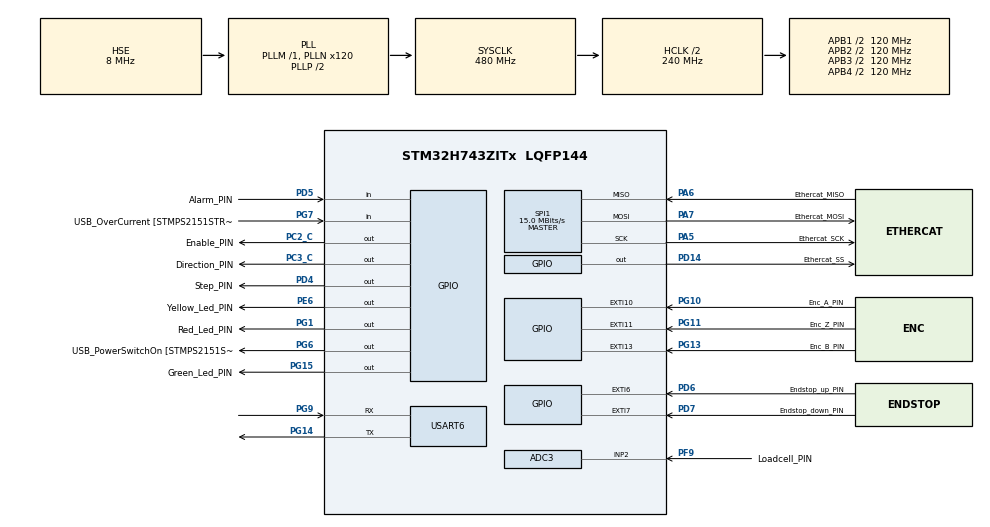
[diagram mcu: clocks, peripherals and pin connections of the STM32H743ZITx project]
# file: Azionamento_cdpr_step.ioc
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ADC3.Channel-0\#ChannelRegularConversion=ADC_CHANNEL_2
ADC3.ClockPrescaler=ADC_CLOCK_ASYNC_DIV6
ADC3.NbrOfConversion=1
ADC3.NbrOfConversionFlag=1
ADC3.OffsetNumber-0\#ChannelRegularConversion=ADC_OFFSET_NONE
ADC3.OffsetSignedSaturation-0\#ChannelRegularConversion=DISABLE
ADC3.OversamplingMode=ENABLE
ADC3.Rank-0\#ChannelRegularConversion=1
ADC3.Ratio=7
ADC3.RightBitShift=ADC_RIGHTBITSHIFT_3
ADC3.SamplingTime-0\#ChannelRegularConversion=ADC_SAMPLETIME_64CYCLES_5
Mcu.Family=STM32H7
Mcu.Name=STM32H743ZITx
Mcu.Package=LQFP144
NVIC.ADC3_IRQn=true\:0\:0\:false\:false\:true\:true\:true
NVIC.EXTI15_10_IRQn=true\:0\:0\:false\:false\:true\:true\:true
NVIC.EXTI9_5_IRQn=true\:0\:0\:false\:false\:true\:true\:true
NVIC.PriorityGroup=NVIC_PRIORITYGROUP_4
NVIC.SPI1_IRQn=true\:0\:0\:false\:false\:true\:true\:true
NVIC.TIM2_IRQn=true\:0\:0\:false\:false\:true\:true\:true
NVIC.TIM3_IRQn=true\:0\:0\:false\:false\:true\:true\:true
NVIC.USART6_IRQn=true\:0\:0\:false\:false\:true\:true\:true
PA5.GPIO_Label=Ethercat_SCK
PA5.Mode=Full_Duplex_Master
PA5.Signal=SPI1_SCK
PA6.GPIO_Label=Ethercat_MISO
PA6.Mode=Full_Duplex_Master
PA6.Signal=SPI1_MISO
PA7.GPIO_Label=Ethercat_MOSI
PA7.Mode=Full_Duplex_Master
PA7.Signal=SPI1_MOSI
PC14-OSC32_IN\ (OSC32_IN).Signal=RCC_OSC32_IN
PC15-OSC32_OUT\ (OSC32_OUT).Signal=RCC_OSC32_OUT
PC2_C.GPIO_Label=Enable_PIN
PC2_C.GPIO_ModeDefaultOutputPP=GPIO_MODE_OUTPUT_OD
PC2_C.GPIO_PuPd=GPIO_NOPULL
PC2_C.GPIO_Speed=GPIO_SPEED_FREQ_MEDIUM
PC2_C.Signal=GPIO_Output
PC3_C.GPIO_Label=Direction_PIN
PC3_C.GPIO_ModeDefaultOutputPP=GPIO_MODE_OUTPUT_OD
PC3_C.GPIO_Speed=GPIO_SPEED_FREQ_HIGH
PC3_C.Signal=GPIO_Output
PD14.GPIO_Label=Ethercat_SS
PD14.GPIO_PuPd=GPIO_PULLUP
PD14.GPIO_Speed=GPIO_SPEED_FREQ_HIGH
PD14.PinState=GPIO_PIN_SET
PD14.Signal=GPIO_Output
PD4.GPIO_Label=Step_PIN
PD4.GPIO_ModeDefaultOutputPP=GPIO_MODE_OUTPUT_OD
PD4.GPIO_Speed=GPIO_SPEED_FREQ_VERY_HIGH
PD4.Signal=GPIO_Output
PD5.GPIO_Label=Alarm_PIN
PD5.GPIO_PuPd=GPIO_PULLUP
PD5.Signal=GPIO_Input
PD6.GPIO_Label=Endstop_up_PIN
PD6.GPIO_PuPd=GPIO_PULLDOWN
PD6.Signal=GPXTI6
PD7.GPIO_Label=Endstop_down_PIN
PD7.GPIO_PuPd=GPIO_PULLDOWN
PD7.Signal=GPXTI7
PE6.GPIO_Label=Yellow_Led_PIN
PE6.GPIO_PuPd=GPIO_PULLDOWN
PE6.Signal=GPIO_Output
PF9.GPIO_Label=Loadcell_PIN
PF9.Mode=IN2-Single-Ended
PF9.Signal=ADC3_INP2
PG1.GPIO_Label=Red_Led_PIN
PG1.GPIO_PuPd=GPIO_PULLDOWN
PG1.Signal=GPIO_Output
PG10.GPIO_Label=Enc_A_PIN
PG10.GPIO_PuPd=GPIO_PULLDOWN
PG10.Signal=GPXTI10
PG11.GPIO_Label=Enc_Z_PIN
PG11.Signal=GPXTI11
PG13.GPIO_Label=Enc_B_PIN
PG13.GPIO_PuPd=GPIO_PULLDOWN
PG13.Signal=GPXTI13
PG14.Mode=Asynchronous
PG14.Signal=USART6_TX
PG15.GPIO_Label=Green_Led_PIN
PG15.GPIO_ModeDefaultOutputPP=GPIO_MODE_OUTPUT_PP
PG15.GPIO_PuPd=GPIO_PULLDOWN
PG15.Signal=GPIO_Output
PG6.GPIO_Label=USB_PowerSwitchOn [STMPS2151STR_EN]
PG6.GPIO_PuPd=GPIO_NOPULL
PG6.Signal=GPIO_Output
PG7.GPIO_Label=USB_OverCurrent [STMPS2151STR_FAULT]
PG7.Signal=GPIO_Input
PG9.Mode=Asynchronous
PG9.Signal=USART6_RX
PH0-OSC_IN\ (PH0).GPIO_Label=MCO
PH0-OSC_IN\ (PH0).Mode=HSE-External-Oscillator
PH0-OSC_IN\ (PH0).Signal=RCC_OSC_IN
PH1-OSC_OUT\ (PH1).Mode=HSE-External-Oscillator
PH1-OSC_OUT\ (PH1).Signal=RCC_OSC_OUT
ProjectManager.HeapSize=0x200
ProjectManager.StackSize=0x400
ProjectManager.TargetToolchain=SW4STM32
RCC.48MHZClocksFreq_Value=24000000
RCC.ADCFreq_Value=76000000
RCC.AHBFreq_Value=216000000
RCC.APB1CLKDivider=RCC_HCLK_DIV4
RCC.APB1Freq_Value=120000000
RCC.APB1TimFreq_Value=108000000
RCC.APB2CLKDivider=RCC_HCLK_DIV2
RCC.APB2Freq_Value=120000000
RCC.APB2TimFreq_Value=216000000
RCC.APB3Freq_Value=120000000
RCC.APB4Freq_Value=120000000
RCC.CortexFreq_Value=480000000
RCC.D1PPRE=RCC_APB3_DIV2
RCC.D2PPRE1=RCC_APB1_DIV2
RCC.D2PPRE2=RCC_APB2_DIV2
RCC.D3PPRE=RCC_APB4_DIV2
RCC.DIVM1=1
RCC.DIVM2=1
RCC.DIVN1=120
RCC.DIVN2=19
RCC.DIVQ1=4
RCC.HCLKFreq_Value=240000000
RCC.HPRE=RCC_HCLK_DIV2
RCC.HSE_VALUE=8000000
RCC.HSI_VALUE=64000000
RCC.PLL2FRACN=0
RCC.PLL3FRACN=0
RCC.PLLFRACN=0
RCC.PLLM=25
RCC.PLLMUL=RCC_PLL_MUL9
RCC.PLLN=432
RCC.PLLQ=9
RCC.PLLSourceVirtual=RCC_PLLSOURCE_HSE
RCC.PRESCALERUSB=RCC_USBCLKSOURCE_PLL_DIV1_5
RCC.PWR_Regulator_Voltage_Scale=PWR_REGULATOR_VOLTAGE_SCALE0
RCC.SYSCLKFreq_VALUE=480000000
RCC.SYSCLKSource=RCC_SYSCLKSOURCE_PLLCLK
RCC.SYSCLKSourceVirtual=RCC_SYSCLKSOURCE_PLLCLK
RCC.USBFreq_Value=240000000
RCC.VCOOutputFreq_Value=432000000
SPI1.BaudRatePrescaler=SPI_BAUDRATEPRESCALER_16
SPI1.CalculateBaudRate=15.0 MBits/s
SPI1.DataSize=SPI_DATASIZE_8BIT
SPI1.Direction=SPI_DIRECTION_2LINES
SPI1.Mode=SPI_MODE_MASTER
SPI1.VirtualType=VM_MASTER
TIM2.Period=65500
TIM2.Prescaler=65500
TIM3.Period=99
TIM3.Prescaler=23
USART6.VirtualMode-Asynchronous=VM_ASYNC
VP_TIM2_VS_ClockSourceINT.Mode=Internal
VP_TIM3_VS_ClockSourceINT.Mode=Internal
board=NUCLEO-H743ZI

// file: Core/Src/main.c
/* USER CODE BEGIN Header */
/**
  ******************************************************************************
  * @file           : main.c
  * @brief          : Main program body
  ******************************************************************************
  * @attention
  *
  * <h2><center>&copy; Copyright (c) 2020 STMicroelectronics.
  * All rights reserved.</center></h2>
  *
  * This software component is licensed by ST under BSD 3-Clause license,
  * the "License"; You may not use this file except in compliance with the
  * License. You may obtain a copy of the License at:
  *                        opensource.org/licenses/BSD-3-Clause
  *
  ******************************************************************************
  */
/* USER CODE END Header */
#include "main.h"
#include "adc.h"
#include "spi.h"
#include "tim.h"
#include "usart.h"
#include "gpio.h"

/* USER CODE BEGIN Includes */
#include <string.h>
#include <stdio.h>
#include <stdlib.h>

#include "State_manager.h"
#include "Error_manager.h"
#include "Easycat.h"

/* USER CODE END Includes */

/* USER CODE BEGIN PV */
Easycat ethercat;
error_t error_handler;
state_manager_t state_machine;

/* USER CODE END PV */

void SystemClock_Config(void);

int main(void)
{

  /* MCU Configuration--------------------------------------------------------*/

  /* Reset of all peripherals, Initializes the Flash interface and the Systick. */
  HAL_Init();

  /* Configure the system clock */
  SystemClock_Config();

  /* Initialize all configured peripherals */
  MX_GPIO_Init();
  MX_SPI1_Init();
  MX_ADC3_Init();
  MX_TIM2_Init();
  MX_TIM3_Init();
  MX_USART6_UART_Init();
  /* USER CODE BEGIN 2 */
  state_manager_init(&state_machine, &ethercat, &error_handler);
  /* USER CODE END 2 */

  /* Infinite loop */
  /* USER CODE BEGIN WHILE */

  while (1)
  {
      if (manager_timer_elapsed()) {

    	  easyCat_Read(state_machine.ethercat);
    	  state_convert_input(&state_machine);
    	  state_machine.state_transition_function[state_machine.state]();
    	  state_machine.state_function[state_machine.state]();
    	  state_convert_output(&state_machine);
    	  easyCat_Write(state_machine.ethercat);
      }
      manager_poll4updates();
    /* USER CODE END WHILE */

  }
}

void SystemClock_Config(void)
{
	RCC_OscInitTypeDef RCC_OscInitStruct = {0};
	  RCC_ClkInitTypeDef RCC_ClkInitStruct = {0};
	  RCC_PeriphCLKInitTypeDef PeriphClkInitStruct = {0};

	  /** Supply configuration update enable
	  */
	  HAL_PWREx_ConfigSupply(PWR_LDO_SUPPLY);
	  /** Configure the main internal regulator output voltage
	  */
	  __HAL_PWR_VOLTAGESCALING_CONFIG(PWR_REGULATOR_VOLTAGE_SCALE0);

	  while(!__HAL_PWR_GET_FLAG(PWR_FLAG_VOSRDY)) {}
	  /** Macro to configure the PLL clock source
	  */
	  __HAL_RCC_PLL_PLLSOURCE_CONFIG(RCC_PLLSOURCE_HSE);
	  /** Initializes the RCC Oscillators according to the specified parameters
	  * in the RCC_OscInitTypeDef structure.
	  */
	  RCC_OscInitStruct.OscillatorType = RCC_OSCILLATORTYPE_HSE;
	  RCC_OscInitStruct.HSEState = RCC_HSE_ON;
	  RCC_OscInitStruct.PLL.PLLState = RCC_PLL_ON;
	  RCC_OscInitStruct.PLL.PLLSource = RCC_PLLSOURCE_HSE;
	  RCC_OscInitStruct.PLL.PLLM = 1;
	  RCC_OscInitStruct.PLL.PLLN = 120;
	  RCC_OscInitStruct.PLL.PLLP = 2;
	  RCC_OscInitStruct.PLL.PLLQ = 4;
	  RCC_OscInitStruct.PLL.PLLR = 2;
	  RCC_OscInitStruct.PLL.PLLRGE = RCC_PLL1VCIRANGE_3;
	  RCC_OscInitStruct.PLL.PLLVCOSEL = RCC_PLL1VCOWIDE;
	  RCC_OscInitStruct.PLL.PLLFRACN = 0;
	  if (HAL_RCC_OscConfig(&RCC_OscInitStruct) != HAL_OK)
	  {
	    Error_Handler();
	  }
	  /** Initializes the CPU, AHB and APB buses clocks
	  */
	  RCC_ClkInitStruct.ClockType = RCC_CLOCKTYPE_HCLK|RCC_CLOCKTYPE_SYSCLK
	                              |RCC_CLOCKTYPE_PCLK1|RCC_CLOCKTYPE_PCLK2
	                              |RCC_CLOCKTYPE_D3PCLK1|RCC_CLOCKTYPE_D1PCLK1;
	  RCC_ClkInitStruct.SYSCLKSource = RCC_SYSCLKSOURCE_PLLCLK;
	  RCC_ClkInitStruct.SYSCLKDivider = RCC_SYSCLK_DIV1;
	  RCC_ClkInitStruct.AHBCLKDivider = RCC_HCLK_DIV2;
	  RCC_ClkInitStruct.APB3CLKDivider = RCC_APB3_DIV2;
	  RCC_ClkInitStruct.APB1CLKDivider = RCC_APB1_DIV2;
	  RCC_ClkInitStruct.APB2CLKDivider = RCC_APB2_DIV2;
	  RCC_ClkInitStruct.APB4CLKDivider = RCC_APB4_DIV2;

	  if (HAL_RCC_ClockConfig(&RCC_ClkInitStruct, FLASH_LATENCY_4) != HAL_OK)
	  {
	    Error_Handler();
	  }
	  PeriphClkInitStruct.PeriphClockSelection = RCC_PERIPHCLK_USART6|RCC_PERIPHCLK_SPI1
	                              |RCC_PERIPHCLK_ADC;
	  PeriphClkInitStruct.PLL2.PLL2M = 1;
	  PeriphClkInitStruct.PLL2.PLL2N = 20;
	  PeriphClkInitStruct.PLL2.PLL2P = 1;
	  PeriphClkInitStruct.PLL2.PLL2Q = 1;
	  PeriphClkInitStruct.PLL2.PLL2R = 2;
	  PeriphClkInitStruct.PLL2.PLL2RGE = RCC_PLL2VCIRANGE_3;
	  PeriphClkInitStruct.PLL2.PLL2VCOSEL = RCC_PLL2VCOMEDIUM;
	  PeriphClkInitStruct.PLL2.PLL2FRACN = 0;
	  PeriphClkInitStruct.Spi123ClockSelection = RCC_SPI123CLKSOURCE_PLL;
	  PeriphClkInitStruct.Usart16ClockSelection = RCC_USART16CLKSOURCE_D2PCLK2;
	  PeriphClkInitStruct.AdcClockSelection = RCC_ADCCLKSOURCE_PLL2;
	  if (HAL_RCCEx_PeriphCLKConfig(&PeriphClkInitStruct) != HAL_OK)
	  {
	    Error_Handler();
	  }
}

void Error_Handler(void)
{
  __disable_irq();
  while (1)
  {
  }
}

/************************ (C) COPYRIGHT STMicroelectronics *****END OF FILE****/
